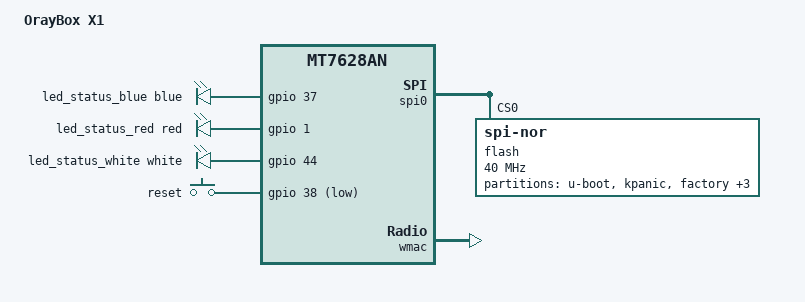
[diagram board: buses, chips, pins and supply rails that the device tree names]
// SPDX-License-Identifier: GPL-2.0-or-later

#include "mt7628an.dtsi"

#include <dt-bindings/gpio/gpio.h>
#include <dt-bindings/input/input.h>
#include <dt-bindings/leds/common.h>

/ {
	compatible = "oraybox,x1", "mediatek,mt7628an-soc";
	model = "OrayBox X1";

	aliases {
		led-boot = &led_status_white;
		led-failsafe = &led_status_red;
		led-running = &led_status_white;
		led-upgrade = &led_status_red;
	};

	chosen {
		bootargs = "console=ttyS0,115200";
	};

	leds {
		compatible = "gpio-leds";

		led_status_blue: status-blue {
			function = LED_FUNCTION_STATUS;
			color = <LED_COLOR_ID_BLUE>;
			gpios = <&gpio 37 GPIO_ACTIVE_HIGH>;
		};

		led_status_red: status-red {
			function = LED_FUNCTION_STATUS;
			color = <LED_COLOR_ID_RED>;
			gpios = <&gpio 1 GPIO_ACTIVE_HIGH>;
		};

		led_status_white: status-white {
			function = LED_FUNCTION_STATUS;
			color = <LED_COLOR_ID_WHITE>;
			gpios = <&gpio 44 GPIO_ACTIVE_HIGH>;
		};
	};

	keys {
		compatible = "gpio-keys";

		reset {
			label = "reset";
			gpios = <&gpio 38 GPIO_ACTIVE_LOW>;
			linux,code = <KEY_RESTART>;
		};
	};
};

&spi0 {
	status = "okay";

	flash@0 {
		compatible = "jedec,spi-nor";
		reg = <0>;
		spi-max-frequency = <40000000>;

		partitions {
			compatible = "fixed-partitions";
			#address-cells = <1>;
			#size-cells = <1>;

			partition@0 {
				label = "u-boot";
				reg = <0x0 0x30000>;
				read-only;
			};

			partition@30000 {
				label = "kpanic";
				reg = <0x30000 0x10000>;
				read-only;
			};

			partition@40000 {
				label = "factory";
				reg = <0x40000 0x10000>;
				read-only;
			};

			partition@50000 {
				compatible = "denx,uimage";
				label = "firmware";
				reg = <0x50000 0xf00000>;
			};

			partition@fe0000 {
				label = "bdinfo";
				reg = <0xfe0000 0x10000>;
				read-only;

				nvmem-layout {
					compatible = "fixed-layout";
					#address-cells = <1>;
					#size-cells = <1>;

					macaddr_bdinfo_9: macaddr@9 {
						reg = <0x9 0x6>;
					};
				};
			};

			partition@ff0000 {
				label = "reserve";
				reg = <0xff0000 0x10000>;
				read-only;
			};
		};
	};
};

&state_default {
	gpio {
		groups = "jtag", "wdt";
		function = "gpio";
	};
};

&ethernet {
	nvmem-cells = <&macaddr_bdinfo_9>;
	nvmem-cell-names = "mac-address";
};

&wmac {
	status = "okay";
};
